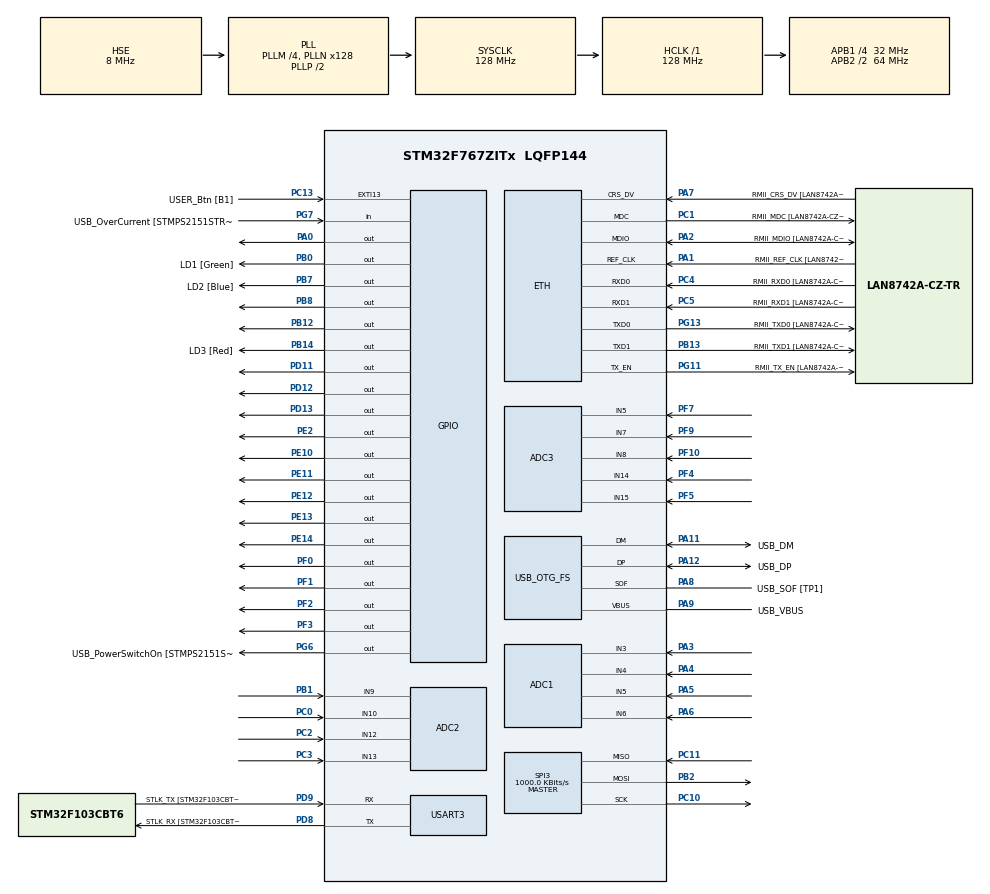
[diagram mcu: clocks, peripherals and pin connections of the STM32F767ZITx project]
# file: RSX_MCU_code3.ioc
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ADC1.Channel-1\#ChannelRegularConversion=ADC_CHANNEL_3
ADC1.Channel-2\#ChannelRegularConversion=ADC_CHANNEL_4
ADC1.Channel-3\#ChannelRegularConversion=ADC_CHANNEL_5
ADC1.Channel-4\#ChannelRegularConversion=ADC_CHANNEL_6
ADC1.ClockPrescaler=ADC_CLOCK_SYNC_PCLK_DIV4
ADC1.ContinuousConvMode=ENABLE
ADC1.DMAContinuousRequests=ENABLE
ADC1.NbrOfConversion=4
ADC1.NbrOfConversionFlag=1
ADC1.Rank-1\#ChannelRegularConversion=1
ADC1.Rank-2\#ChannelRegularConversion=2
ADC1.Rank-3\#ChannelRegularConversion=3
ADC1.Rank-4\#ChannelRegularConversion=4
ADC1.SamplingTime-1\#ChannelRegularConversion=ADC_SAMPLETIME_3CYCLES
ADC1.SamplingTime-2\#ChannelRegularConversion=ADC_SAMPLETIME_3CYCLES
ADC1.SamplingTime-3\#ChannelRegularConversion=ADC_SAMPLETIME_3CYCLES
ADC1.SamplingTime-4\#ChannelRegularConversion=ADC_SAMPLETIME_3CYCLES
ADC1.ScanConvMode=ADC_SCAN_ENABLE
ADC1.master=1
ADC2.Channel-0\#ChannelRegularConversion=ADC_CHANNEL_9
ADC2.Channel-1\#ChannelRegularConversion=ADC_CHANNEL_10
ADC2.Channel-2\#ChannelRegularConversion=ADC_CHANNEL_12
ADC2.Channel-3\#ChannelRegularConversion=ADC_CHANNEL_13
ADC2.ClockPrescaler=ADC_CLOCK_SYNC_PCLK_DIV4
ADC2.ContinuousConvMode=ENABLE
ADC2.DMAContinuousRequests=ENABLE
ADC2.NbrOfConversion=4
ADC2.NbrOfConversionFlag=1
ADC2.Rank-0\#ChannelRegularConversion=1
ADC2.Rank-1\#ChannelRegularConversion=2
ADC2.Rank-2\#ChannelRegularConversion=3
ADC2.Rank-3\#ChannelRegularConversion=4
ADC2.SamplingTime-0\#ChannelRegularConversion=ADC_SAMPLETIME_3CYCLES
ADC2.SamplingTime-1\#ChannelRegularConversion=ADC_SAMPLETIME_3CYCLES
ADC2.SamplingTime-2\#ChannelRegularConversion=ADC_SAMPLETIME_3CYCLES
ADC2.SamplingTime-3\#ChannelRegularConversion=ADC_SAMPLETIME_3CYCLES
ADC2.ScanConvMode=ADC_SCAN_ENABLE
ADC3.Channel-0\#ChannelRegularConversion=ADC_CHANNEL_7
ADC3.Channel-1\#ChannelRegularConversion=ADC_CHANNEL_8
ADC3.ClockPrescaler=ADC_CLOCK_SYNC_PCLK_DIV4
ADC3.ContinuousConvMode=ENABLE
ADC3.DMAContinuousRequests=ENABLE
ADC3.NbrOfConversion=2
ADC3.NbrOfConversionFlag=1
ADC3.Rank-0\#ChannelRegularConversion=1
ADC3.Rank-1\#ChannelRegularConversion=2
ADC3.SamplingTime-0\#ChannelRegularConversion=ADC_SAMPLETIME_3CYCLES
ADC3.SamplingTime-1\#ChannelRegularConversion=ADC_SAMPLETIME_3CYCLES
ADC3.ScanConvMode=ADC_SCAN_ENABLE
Dma.ADC1.2.Direction=DMA_PERIPH_TO_MEMORY
Dma.ADC1.2.FIFOMode=DMA_FIFOMODE_DISABLE
Dma.ADC1.2.Instance=DMA2_Stream4
Dma.ADC1.2.MemDataAlignment=DMA_MDATAALIGN_HALFWORD
Dma.ADC1.2.MemInc=DMA_MINC_ENABLE
Dma.ADC1.2.Mode=DMA_NORMAL
Dma.ADC1.2.PeriphDataAlignment=DMA_PDATAALIGN_HALFWORD
Dma.ADC1.2.PeriphInc=DMA_PINC_DISABLE
Dma.ADC1.2.Priority=DMA_PRIORITY_LOW
Dma.ADC2.1.Direction=DMA_PERIPH_TO_MEMORY
Dma.ADC2.1.FIFOMode=DMA_FIFOMODE_DISABLE
Dma.ADC2.1.Instance=DMA2_Stream2
Dma.ADC2.1.MemDataAlignment=DMA_MDATAALIGN_HALFWORD
Dma.ADC2.1.MemInc=DMA_MINC_ENABLE
Dma.ADC2.1.Mode=DMA_NORMAL
Dma.ADC2.1.PeriphDataAlignment=DMA_PDATAALIGN_HALFWORD
Dma.ADC2.1.PeriphInc=DMA_PINC_DISABLE
Dma.ADC2.1.Priority=DMA_PRIORITY_LOW
Dma.ADC3.0.Direction=DMA_PERIPH_TO_MEMORY
Dma.ADC3.0.FIFOMode=DMA_FIFOMODE_DISABLE
Dma.ADC3.0.Instance=DMA2_Stream0
Dma.ADC3.0.MemDataAlignment=DMA_MDATAALIGN_HALFWORD
Dma.ADC3.0.MemInc=DMA_MINC_ENABLE
Dma.ADC3.0.Mode=DMA_NORMAL
Dma.ADC3.0.PeriphDataAlignment=DMA_PDATAALIGN_HALFWORD
Dma.ADC3.0.PeriphInc=DMA_PINC_DISABLE
Dma.ADC3.0.Priority=DMA_PRIORITY_LOW
Dma.Request0=ADC3
Dma.Request1=ADC2
Dma.Request2=ADC1
Dma.Request3=SPI3_TX
Dma.SPI3_TX.3.Direction=DMA_MEMORY_TO_PERIPH
Dma.SPI3_TX.3.FIFOMode=DMA_FIFOMODE_DISABLE
Dma.SPI3_TX.3.Instance=DMA1_Stream5
Dma.SPI3_TX.3.MemDataAlignment=DMA_MDATAALIGN_BYTE
Dma.SPI3_TX.3.MemInc=DMA_MINC_ENABLE
Dma.SPI3_TX.3.Mode=DMA_NORMAL
Dma.SPI3_TX.3.PeriphDataAlignment=DMA_PDATAALIGN_BYTE
Dma.SPI3_TX.3.PeriphInc=DMA_PINC_DISABLE
Dma.SPI3_TX.3.Priority=DMA_PRIORITY_LOW
ETH.MediaInterface=HAL_ETH_RMII_MODE
ETH.PHY_Name=LAN8742A_PHY_ADDRESS
ETH.PHY_Value=0
ETH.PhyAddress=0
Mcu.Family=STM32F7
Mcu.Name=STM32F767ZITx
Mcu.Package=LQFP144
NVIC.DMA1_Stream5_IRQn=true\:0\:0\:false\:false\:true\:false\:true\:true
NVIC.DMA2_Stream0_IRQn=true\:0\:0\:false\:false\:true\:false\:true\:true
NVIC.DMA2_Stream2_IRQn=true\:0\:0\:false\:false\:true\:false\:true\:true
NVIC.DMA2_Stream4_IRQn=true\:0\:0\:false\:false\:true\:false\:true\:true
NVIC.PriorityGroup=NVIC_PRIORITYGROUP_4
NVIC.SPI3_IRQn=true\:0\:0\:false\:false\:true\:true\:true\:true
PA0/WKUP.Signal=GPIO_Output
PA1.GPIO_Label=RMII_REF_CLK [LAN8742A-CZ-TR_REFCLK0]
PA1.Mode=RMII
PA1.Signal=ETH_REF_CLK
PA10.GPIO_Label=USB_ID
PA10.Signal=USB_OTG_FS_ID
PA11.GPIO_Label=USB_DM
PA11.Mode=Device_Only
PA11.Signal=USB_OTG_FS_DM
PA12.GPIO_Label=USB_DP
PA12.Mode=Device_Only
PA12.Signal=USB_OTG_FS_DP
PA13.GPIO_Label=TMS
PA13.Mode=Serial_Wire
PA13.Signal=SYS_JTMS-SWDIO
PA14.GPIO_Label=TCK
PA14.Mode=Serial_Wire
PA14.Signal=SYS_JTCK-SWCLK
PA2.GPIO_Label=RMII_MDIO [LAN8742A-CZ-TR_MDIO]
PA2.Mode=RMII
PA2.Signal=ETH_MDIO
PA3.Signal=ADCx_IN3
PA4.Signal=ADCx_IN4
PA5.Signal=ADCx_IN5
PA6.Signal=ADCx_IN6
PA7.GPIO_Label=RMII_CRS_DV [LAN8742A-CZ-TR_CRS_DV]
PA7.Mode=RMII
PA7.Signal=ETH_CRS_DV
PA8.GPIO_Label=USB_SOF [TP1]
PA8.Mode=Activate_SOF_FS
PA8.Signal=USB_OTG_FS_SOF
PA9.GPIO_Label=USB_VBUS
PA9.Mode=Activate_VBUS
PA9.Signal=USB_OTG_FS_VBUS
PB0.GPIO_Label=LD1 [Green]
PB0.Signal=GPIO_Output
PB1.Signal=ADCx_IN9
PB12.Signal=GPIO_Output
PB13.GPIO_Label=RMII_TXD1 [LAN8742A-CZ-TR_TXD1]
PB13.Mode=RMII
PB13.Signal=ETH_TXD1
PB14.GPIO_Label=LD3 [Red]
PB14.Signal=GPIO_Output
PB2.Mode=Full_Duplex_Master
PB2.Signal=SPI3_MOSI
PB3.GPIO_Label=SWO
PB3.Signal=SYS_JTDO-SWO
PB7.GPIO_Label=LD2 [Blue]
PB7.Signal=GPIO_Output
PB8.Signal=GPIO_Output
PC0.Signal=ADCx_IN10
PC1.GPIO_Label=RMII_MDC [LAN8742A-CZ-TR_MDC]
PC1.Mode=RMII
PC1.Signal=ETH_MDC
PC10.Mode=Full_Duplex_Master
PC10.Signal=SPI3_SCK
PC11.Mode=Full_Duplex_Master
PC11.Signal=SPI3_MISO
PC13.GPIO_Label=USER_Btn [B1]
PC13.Signal=GPXTI13
PC14/OSC32_IN.Mode=LSE-External-Oscillator
PC14/OSC32_IN.Signal=RCC_OSC32_IN
PC15/OSC32_OUT.Mode=LSE-External-Oscillator
PC15/OSC32_OUT.Signal=RCC_OSC32_OUT
PC2.Signal=ADCx_IN12
PC3.Signal=ADCx_IN13
PC4.GPIO_Label=RMII_RXD0 [LAN8742A-CZ-TR_RXD0]
PC4.Mode=RMII
PC4.Signal=ETH_RXD0
PC5.GPIO_Label=RMII_RXD1 [LAN8742A-CZ-TR_RXD1]
PC5.Mode=RMII
PC5.Signal=ETH_RXD1
PD11.Signal=GPIO_Output
PD12.Signal=GPIO_Output
PD13.Signal=GPIO_Output
PD8.GPIO_Label=STLK_RX [STM32F103CBT6_PA3]
PD8.Mode=Asynchronous
PD8.Signal=USART3_TX
PD9.GPIO_Label=STLK_TX [STM32F103CBT6_PA2]
PD9.Mode=Asynchronous
PD9.Signal=USART3_RX
PE10.Signal=GPIO_Output
PE11.Signal=GPIO_Output
PE12.Signal=GPIO_Output
PE13.Signal=GPIO_Output
PE14.Signal=GPIO_Output
PE2.Signal=GPIO_Output
PF0.Signal=GPIO_Output
PF1.Signal=GPIO_Output
PF10.Mode=IN8
PF10.Signal=ADC3_IN8
PF2.Signal=GPIO_Output
PF3.Signal=GPIO_Output
PF4.Mode=IN14
PF4.Signal=ADC3_IN14
PF5.Mode=IN15
PF5.Signal=ADC3_IN15
PF7.Mode=IN5
PF7.Signal=ADC3_IN5
PF9.Mode=IN7
PF9.Signal=ADC3_IN7
PG11.GPIO_Label=RMII_TX_EN [LAN8742A-CZ-TR_TXEN]
PG11.Mode=RMII
PG11.Signal=ETH_TX_EN
PG13.GPIO_Label=RMII_TXD0 [LAN8742A-CZ-TR_TXD0]
PG13.Mode=RMII
PG13.Signal=ETH_TXD0
PG6.GPIO_Label=USB_PowerSwitchOn [STMPS2151STR_EN]
PG6.Signal=GPIO_Output
PG7.GPIO_Label=USB_OverCurrent [STMPS2151STR_FAULT]
PG7.Signal=GPIO_Input
PH0/OSC_IN.GPIO_Label=MCO [STM32F103CBT6_PA8]
PH0/OSC_IN.Mode=HSE-External-Clock-Source
PH0/OSC_IN.Signal=RCC_OSC_IN
PH1/OSC_OUT.Mode=HSE-External-Clock-Source
PH1/OSC_OUT.Signal=RCC_OSC_OUT
ProjectManager.HeapSize=0x200
ProjectManager.StackSize=0x400
ProjectManager.TargetToolchain=STM32CubeIDE
RCC.48MHZClocksFreq_Value=24000000
RCC.AHBFreq_Value=128000000
RCC.APB1CLKDivider=RCC_HCLK_DIV4
RCC.APB1Freq_Value=32000000
RCC.APB1TimFreq_Value=64000000
RCC.APB2CLKDivider=RCC_HCLK_DIV2
RCC.APB2Freq_Value=64000000
RCC.APB2TimFreq_Value=128000000
RCC.CortexFreq_Value=128000000
RCC.HCLKFreq_Value=128000000
RCC.HSE_VALUE=8000000
RCC.HSI_VALUE=16000000
RCC.PLL48CLockSelection=RCC_CLK48SOURCE_PLLSAIP
RCC.PLLM=4
RCC.PLLMUL=RCC_PLL_MUL9
RCC.PLLN=128
RCC.PLLQ=4
RCC.PLLSAIP=RCC_PLLSAIP_DIV8
RCC.PRESCALERUSB=RCC_USBCLKSOURCE_PLL_DIV1_5
RCC.SYSCLKFreq_VALUE=128000000
RCC.SYSCLKSource=RCC_SYSCLKSOURCE_PLLCLK
RCC.SYSCLKSourceVirtual=RCC_SYSCLKSOURCE_PLLCLK
RCC.USBFreq_Value=48000000
RCC.VCOOutputFreq_Value=256000000
SH.ADCx_IN10.0=ADC2_IN10,IN10
SH.ADCx_IN12.0=ADC2_IN12,IN12
SH.ADCx_IN13.0=ADC2_IN13,IN13
SH.ADCx_IN3.0=ADC1_IN3,IN3
SH.ADCx_IN4.0=ADC1_IN4,IN4
SH.ADCx_IN5.0=ADC1_IN5,IN5
SH.ADCx_IN6.0=ADC1_IN6,IN6
SH.ADCx_IN9.0=ADC2_IN9,IN9
SPI3.BaudRatePrescaler=SPI_BAUDRATEPRESCALER_32
SPI3.CalculateBaudRate=1000.0 KBits/s
SPI3.Direction=SPI_DIRECTION_2LINES
SPI3.Mode=SPI_MODE_MASTER
SPI3.VirtualType=VM_MASTER
USART3.VirtualMode-Asynchronous=VM_ASYNC
USB_OTG_FS.VirtualMode=Device_Only
VP_TIM1_VS_ClockSourceINT.Mode=Internal
board=NUCLEO-F767ZI

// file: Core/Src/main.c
/* USER CODE BEGIN Header */
/**
  ******************************************************************************
  * @file           : main.c
  * @brief          : Main program body
  ******************************************************************************
  * @attention
  *
  * Copyright (c) 2025 STMicroelectronics.
  * All rights reserved.
  *
  * This software is licensed under terms that can be found in the LICENSE file
  * in the root directory of this software component.
  * If no LICENSE file comes with this software, it is provided AS-IS.
  *
  ******************************************************************************
  */
/* USER CODE END Header */
#include "main.h"
#include "string.h"

/* USER CODE BEGIN Includes */
#include <stdio.h>
/* USER CODE END Includes */

#if defined ( __ICCARM__ ) /*!< IAR Compiler */
#pragma location=0x2007c000
ETH_DMADescTypeDef  DMARxDscrTab[ETH_RX_DESC_CNT]; /* Ethernet Rx DMA Descriptors */
#pragma location=0x2007c0a0
ETH_DMADescTypeDef  DMATxDscrTab[ETH_TX_DESC_CNT]; /* Ethernet Tx DMA Descriptors */

#elif defined ( __CC_ARM )  /* MDK ARM Compiler */

__attribute__((at(0x2007c000))) ETH_DMADescTypeDef  DMARxDscrTab[ETH_RX_DESC_CNT]; /* Ethernet Rx DMA Descriptors */
__attribute__((at(0x2007c0a0))) ETH_DMADescTypeDef  DMATxDscrTab[ETH_TX_DESC_CNT]; /* Ethernet Tx DMA Descriptors */

#elif defined ( __GNUC__ ) /* GNU Compiler */

ETH_DMADescTypeDef DMARxDscrTab[ETH_RX_DESC_CNT] __attribute__((section(".RxDecripSection"))); /* Ethernet Rx DMA Descriptors */
ETH_DMADescTypeDef DMATxDscrTab[ETH_TX_DESC_CNT] __attribute__((section(".TxDecripSection")));   /* Ethernet Tx DMA Descriptors */
#endif

ETH_TxPacketConfig TxConfig;

ADC_HandleTypeDef hadc1;
ADC_HandleTypeDef hadc2;
ADC_HandleTypeDef hadc3;
DMA_HandleTypeDef hdma_adc1;
DMA_HandleTypeDef hdma_adc2;
DMA_HandleTypeDef hdma_adc3;

ETH_HandleTypeDef heth;

SPI_HandleTypeDef hspi3;
DMA_HandleTypeDef hdma_spi3_tx;

TIM_HandleTypeDef htim1;

UART_HandleTypeDef huart3;

PCD_HandleTypeDef hpcd_USB_OTG_FS;

/* USER CODE BEGIN PV */
uint16_t adc1_values[4] = {0};
uint16_t adc2_values[4] = {0};
uint16_t adc3_values[5] = {0};
/* USER CODE END PV */

void SystemClock_Config(void);
static void MX_GPIO_Init(void);
static void MX_DMA_Init(void);
static void MX_ETH_Init(void);
static void MX_USART3_UART_Init(void);
static void MX_USB_OTG_FS_PCD_Init(void);
static void MX_ADC1_Init(void);
static void MX_ADC2_Init(void);
static void MX_ADC3_Init(void);
static void MX_SPI3_Init(void);
static void MX_TIM1_Init(void);

/* USER CODE BEGIN 0 */
float Get_Voltage(VoltageSelection v_sel) {
	float adc_value;
	switch (v_sel) {
	case PA3:
		adc_value = adc1_values[0];
		break;
	case PA4:
		adc_value = adc1_values[1];
		break;
	case PA5:
		adc_value = adc1_values[2];
		break;
	case PA6:
		adc_value = adc1_values[3];
		break;
	case PF4:
		adc_value = adc3_values[0];
		break;
	case PF5:
		adc_value = adc3_values[1];
		break;
	case PF7:
		adc_value = adc3_values[2];
		break;
	default:
		return 1.0 / 0;
		break;
	}
	float vref = 3.3f;
	float voltage = (adc_value / 4095.0f) * vref;
	// do some conversion
	return voltage;
}

float Get_Current(CurrentSelection I_sel) {
	float adc_value;
	switch (I_sel) {
	case PF9:
		adc_value = adc3_values[3];
		break;
	case PF10:
		adc_value = adc3_values[4];
		break;
	default:
		return 1.0 / 0;
		break;
	}
	float vref = 3.3f;
	float current = (adc_value / 4095.0f) * vref;
	// do some conversion
	return current;
}

float Get_Temperature(TemperatureSelection T_sel) {
	float adc_value;
	switch (T_sel) {
	case PA3:
		adc_value = adc2_values[0];
		break;
	case PA4:
		adc_value = adc2_values[1];
		break;
	case PA5:
		adc_value = adc2_values[2];
		break;
	case PA6:
		adc_value = adc2_values[3];
		break;
	default:
		return 1.0 / 0;
		break;
	}
	float vref = 3.3f;
	float temperature = (adc_value / 4095.0f) * vref;
	return temperature;
}
bool Enable(DCtoDCSelection DC_sel) {
	return true;
}
/* USER CODE END 0 */

int main(void)
{

  /* MCU Configuration--------------------------------------------------------*/

  /* Reset of all peripherals, Initializes the Flash interface and the Systick. */
  HAL_Init();

  /* Configure the system clock */
  SystemClock_Config();

  /* Initialize all configured peripherals */
  MX_GPIO_Init();
  MX_DMA_Init();
  MX_ETH_Init();
  MX_USART3_UART_Init();
  MX_USB_OTG_FS_PCD_Init();
  MX_ADC1_Init();
  MX_ADC2_Init();
  MX_ADC3_Init();
  MX_SPI3_Init();
  MX_TIM1_Init();

  /* Infinite loop */
  /* USER CODE BEGIN WHILE */

  HAL_ADC_Start_DMA(&hadc1, (uint32_t*)adc1_values, 4);
  HAL_ADC_Start_DMA(&hadc2, (uint32_t*)adc2_values, 4);
  HAL_ADC_Start_DMA(&hadc3, (uint32_t*)adc3_values, 5);

  while (1)
  {
    /* USER CODE END WHILE */

    /* USER CODE BEGIN 3 */
	  float voltage = Get_Voltage(PA3);
	  char msg[100];
	  snprintf(msg, 100, "voltage %.6f\r\n", voltage);
	  HAL_UART_Transmit(&huart3, (uint8_t*)msg, strlen(msg), HAL_MAX_DELAY);

	  voltage = Get_Voltage(PA4);
	  snprintf(msg, 100, "voltage %.6f\r\n", voltage);
	  HAL_UART_Transmit(&huart3, (uint8_t*)msg, strlen(msg), HAL_MAX_DELAY);

	  HAL_Delay(1000);

  }
  /* USER CODE END 3 */
}

void SystemClock_Config(void)
{
  RCC_OscInitTypeDef RCC_OscInitStruct = {0};
  RCC_ClkInitTypeDef RCC_ClkInitStruct = {0};

  /** Configure LSE Drive Capability
  */
  HAL_PWR_EnableBkUpAccess();

  /** Configure the main internal regulator output voltage
  */
  __HAL_RCC_PWR_CLK_ENABLE();
  __HAL_PWR_VOLTAGESCALING_CONFIG(PWR_REGULATOR_VOLTAGE_SCALE3);

  /** Initializes the RCC Oscillators according to the specified parameters
  * in the RCC_OscInitTypeDef structure.
  */
  RCC_OscInitStruct.OscillatorType = RCC_OSCILLATORTYPE_HSE;
  RCC_OscInitStruct.HSEState = RCC_HSE_BYPASS;
  RCC_OscInitStruct.PLL.PLLState = RCC_PLL_ON;
  RCC_OscInitStruct.PLL.PLLSource = RCC_PLLSOURCE_HSE;
  RCC_OscInitStruct.PLL.PLLM = 4;
  RCC_OscInitStruct.PLL.PLLN = 128;
  RCC_OscInitStruct.PLL.PLLP = RCC_PLLP_DIV2;
  RCC_OscInitStruct.PLL.PLLQ = 4;
  RCC_OscInitStruct.PLL.PLLR = 2;
  if (HAL_RCC_OscConfig(&RCC_OscInitStruct) != HAL_OK)
  {
    Error_Handler();
  }

  /** Initializes the CPU, AHB and APB buses clocks
  */
  RCC_ClkInitStruct.ClockType = RCC_CLOCKTYPE_HCLK|RCC_CLOCKTYPE_SYSCLK
                              |RCC_CLOCKTYPE_PCLK1|RCC_CLOCKTYPE_PCLK2;
  RCC_ClkInitStruct.SYSCLKSource = RCC_SYSCLKSOURCE_PLLCLK;
  RCC_ClkInitStruct.AHBCLKDivider = RCC_SYSCLK_DIV1;
  RCC_ClkInitStruct.APB1CLKDivider = RCC_HCLK_DIV4;
  RCC_ClkInitStruct.APB2CLKDivider = RCC_HCLK_DIV2;

  if (HAL_RCC_ClockConfig(&RCC_ClkInitStruct, FLASH_LATENCY_4) != HAL_OK)
  {
    Error_Handler();
  }
}

static void MX_ADC1_Init(void)
{

  ADC_ChannelConfTypeDef sConfig = {0};

  /** Configure the global features of the ADC (Clock, Resolution, Data Alignment and number of conversion)
  */
  hadc1.Instance = ADC1;
  hadc1.Init.ClockPrescaler = ADC_CLOCK_SYNC_PCLK_DIV4;
  hadc1.Init.Resolution = ADC_RESOLUTION_12B;
  hadc1.Init.ScanConvMode = ADC_SCAN_ENABLE;
  hadc1.Init.ContinuousConvMode = ENABLE;
  hadc1.Init.DiscontinuousConvMode = DISABLE;
  hadc1.Init.ExternalTrigConvEdge = ADC_EXTERNALTRIGCONVEDGE_NONE;
  hadc1.Init.ExternalTrigConv = ADC_SOFTWARE_START;
  hadc1.Init.DataAlign = ADC_DATAALIGN_RIGHT;
  hadc1.Init.NbrOfConversion = 4;
  hadc1.Init.DMAContinuousRequests = ENABLE;
  hadc1.Init.EOCSelection = ADC_EOC_SINGLE_CONV;
  if (HAL_ADC_Init(&hadc1) != HAL_OK)
  {
    Error_Handler();
  }

  /** Configure for the selected ADC regular channel its corresponding rank in the sequencer and its sample time.
  */
  sConfig.Channel = ADC_CHANNEL_3;
  sConfig.Rank = ADC_REGULAR_RANK_1;
  sConfig.SamplingTime = ADC_SAMPLETIME_3CYCLES;
  if (HAL_ADC_ConfigChannel(&hadc1, &sConfig) != HAL_OK)
  {
    Error_Handler();
  }

  /** Configure for the selected ADC regular channel its corresponding rank in the sequencer and its sample time.
  */
  sConfig.Channel = ADC_CHANNEL_4;
  sConfig.Rank = ADC_REGULAR_RANK_2;
  if (HAL_ADC_ConfigChannel(&hadc1, &sConfig) != HAL_OK)
  {
    Error_Handler();
  }

  /** Configure for the selected ADC regular channel its corresponding rank in the sequencer and its sample time.
  */
  sConfig.Channel = ADC_CHANNEL_5;
  sConfig.Rank = ADC_REGULAR_RANK_3;
  if (HAL_ADC_ConfigChannel(&hadc1, &sConfig) != HAL_OK)
  {
    Error_Handler();
  }

  /** Configure for the selected ADC regular channel its corresponding rank in the sequencer and its sample time.
  */
  sConfig.Channel = ADC_CHANNEL_6;
  sConfig.Rank = ADC_REGULAR_RANK_4;
  if (HAL_ADC_ConfigChannel(&hadc1, &sConfig) != HAL_OK)
  {
    Error_Handler();
  }

}

static void MX_ADC2_Init(void)
{

  ADC_ChannelConfTypeDef sConfig = {0};

  /** Configure the global features of the ADC (Clock, Resolution, Data Alignment and number of conversion)
  */
  hadc2.Instance = ADC2;
  hadc2.Init.ClockPrescaler = ADC_CLOCK_SYNC_PCLK_DIV4;
  hadc2.Init.Resolution = ADC_RESOLUTION_12B;
  hadc2.Init.ScanConvMode = ADC_SCAN_ENABLE;
  hadc2.Init.ContinuousConvMode = ENABLE;
  hadc2.Init.DiscontinuousConvMode = DISABLE;
  hadc2.Init.ExternalTrigConvEdge = ADC_EXTERNALTRIGCONVEDGE_NONE;
  hadc2.Init.ExternalTrigConv = ADC_SOFTWARE_START;
  hadc2.Init.DataAlign = ADC_DATAALIGN_RIGHT;
  hadc2.Init.NbrOfConversion = 4;
  hadc2.Init.DMAContinuousRequests = ENABLE;
  hadc2.Init.EOCSelection = ADC_EOC_SINGLE_CONV;
  if (HAL_ADC_Init(&hadc2) != HAL_OK)
  {
    Error_Handler();
  }

  /** Configure for the selected ADC regular channel its corresponding rank in the sequencer and its sample time.
  */
  sConfig.Channel = ADC_CHANNEL_9;
  sConfig.Rank = ADC_REGULAR_RANK_1;
  sConfig.SamplingTime = ADC_SAMPLETIME_3CYCLES;
  if (HAL_ADC_ConfigChannel(&hadc2, &sConfig) != HAL_OK)
  {
    Error_Handler();
  }

  /** Configure for the selected ADC regular channel its corresponding rank in the sequencer and its sample time.
  */
  sConfig.Channel = ADC_CHANNEL_10;
  sConfig.Rank = ADC_REGULAR_RANK_2;
  if (HAL_ADC_ConfigChannel(&hadc2, &sConfig) != HAL_OK)
  {
    Error_Handler();
  }

  /** Configure for the selected ADC regular channel its corresponding rank in the sequencer and its sample time.
  */
  sConfig.Channel = ADC_CHANNEL_12;
  sConfig.Rank = ADC_REGULAR_RANK_3;
  if (HAL_ADC_ConfigChannel(&hadc2, &sConfig) != HAL_OK)
  {
    Error_Handler();
  }

  /** Configure for the selected ADC regular channel its corresponding rank in the sequencer and its sample time.
  */
  sConfig.Channel = ADC_CHANNEL_13;
  sConfig.Rank = ADC_REGULAR_RANK_4;
  if (HAL_ADC_ConfigChannel(&hadc2, &sConfig) != HAL_OK)
  {
    Error_Handler();
  }

}

static void MX_ADC3_Init(void)
{

  ADC_ChannelConfTypeDef sConfig = {0};

  /** Configure the global features of the ADC (Clock, Resolution, Data Alignment and number of conversion)
  */
  hadc3.Instance = ADC3;
  hadc3.Init.ClockPrescaler = ADC_CLOCK_SYNC_PCLK_DIV4;
  hadc3.Init.Resolution = ADC_RESOLUTION_12B;
  hadc3.Init.ScanConvMode = ADC_SCAN_ENABLE;
  hadc3.Init.ContinuousConvMode = ENABLE;
  hadc3.Init.DiscontinuousConvMode = DISABLE;
  hadc3.Init.ExternalTrigConvEdge = ADC_EXTERNALTRIGCONVEDGE_NONE;
  hadc3.Init.ExternalTrigConv = ADC_SOFTWARE_START;
  hadc3.Init.DataAlign = ADC_DATAALIGN_RIGHT;
  hadc3.Init.NbrOfConversion = 2;
  hadc3.Init.DMAContinuousRequests = ENABLE;
  hadc3.Init.EOCSelection = ADC_EOC_SINGLE_CONV;
  if (HAL_ADC_Init(&hadc3) != HAL_OK)
  {
    Error_Handler();
  }

  /** Configure for the selected ADC regular channel its corresponding rank in the sequencer and its sample time.
  */
  sConfig.Channel = ADC_CHANNEL_7;
  sConfig.Rank = ADC_REGULAR_RANK_1;
  sConfig.SamplingTime = ADC_SAMPLETIME_3CYCLES;
  if (HAL_ADC_ConfigChannel(&hadc3, &sConfig) != HAL_OK)
  {
    Error_Handler();
  }

  /** Configure for the selected ADC regular channel its corresponding rank in the sequencer and its sample time.
  */
  sConfig.Channel = ADC_CHANNEL_8;
  sConfig.Rank = ADC_REGULAR_RANK_2;
  if (HAL_ADC_ConfigChannel(&hadc3, &sConfig) != HAL_OK)
  {
    Error_Handler();
  }

}

static void MX_ETH_Init(void)
{

   static uint8_t MACAddr[6];

  heth.Instance = ETH;
  MACAddr[0] = 0x00;
  MACAddr[1] = 0x80;
  MACAddr[2] = 0xE1;
  MACAddr[3] = 0x00;
  MACAddr[4] = 0x00;
  MACAddr[5] = 0x00;
  heth.Init.MACAddr = &MACAddr[0];
  heth.Init.MediaInterface = HAL_ETH_RMII_MODE;
  heth.Init.TxDesc = DMATxDscrTab;
  heth.Init.RxDesc = DMARxDscrTab;
  heth.Init.RxBuffLen = 1524;

  if (HAL_ETH_Init(&heth) != HAL_OK)
  {
    Error_Handler();
  }

  memset(&TxConfig, 0 , sizeof(ETH_TxPacketConfig));
  TxConfig.Attributes = ETH_TX_PACKETS_FEATURES_CSUM | ETH_TX_PACKETS_FEATURES_CRCPAD;
  TxConfig.ChecksumCtrl = ETH_CHECKSUM_IPHDR_PAYLOAD_INSERT_PHDR_CALC;
  TxConfig.CRCPadCtrl = ETH_CRC_PAD_INSERT;

}

static void MX_SPI3_Init(void)
{

  /* SPI3 parameter configuration*/
  hspi3.Instance = SPI3;
  hspi3.Init.Mode = SPI_MODE_MASTER;
  hspi3.Init.Direction = SPI_DIRECTION_2LINES;
  hspi3.Init.DataSize = SPI_DATASIZE_4BIT;
  hspi3.Init.CLKPolarity = SPI_POLARITY_LOW;
  hspi3.Init.CLKPhase = SPI_PHASE_1EDGE;
  hspi3.Init.NSS = SPI_NSS_SOFT;
  hspi3.Init.BaudRatePrescaler = SPI_BAUDRATEPRESCALER_32;
  hspi3.Init.FirstBit = SPI_FIRSTBIT_MSB;
  hspi3.Init.TIMode = SPI_TIMODE_DISABLE;
  hspi3.Init.CRCCalculation = SPI_CRCCALCULATION_DISABLE;
  hspi3.Init.CRCPolynomial = 7;
  hspi3.Init.CRCLength = SPI_CRC_LENGTH_DATASIZE;
  hspi3.Init.NSSPMode = SPI_NSS_PULSE_ENABLE;
  if (HAL_SPI_Init(&hspi3) != HAL_OK)
  {
    Error_Handler();
  }

}

static void MX_TIM1_Init(void)
{

  TIM_ClockConfigTypeDef sClockSourceConfig = {0};
  TIM_MasterConfigTypeDef sMasterConfig = {0};

  htim1.Instance = TIM1;
  htim1.Init.Prescaler = 0;
  htim1.Init.CounterMode = TIM_COUNTERMODE_UP;
  htim1.Init.Period = 65535;
  htim1.Init.ClockDivision = TIM_CLOCKDIVISION_DIV1;
  htim1.Init.RepetitionCounter = 0;
  htim1.Init.AutoReloadPreload = TIM_AUTORELOAD_PRELOAD_DISABLE;
  if (HAL_TIM_Base_Init(&htim1) != HAL_OK)
  {
    Error_Handler();
  }
  sClockSourceConfig.ClockSource = TIM_CLOCKSOURCE_INTERNAL;
  if (HAL_TIM_ConfigClockSource(&htim1, &sClockSourceConfig) != HAL_OK)
  {
    Error_Handler();
  }
  sMasterConfig.MasterOutputTrigger = TIM_TRGO_RESET;
  sMasterConfig.MasterOutputTrigger2 = TIM_TRGO2_RESET;
  sMasterConfig.MasterSlaveMode = TIM_MASTERSLAVEMODE_DISABLE;
  if (HAL_TIMEx_MasterConfigSynchronization(&htim1, &sMasterConfig) != HAL_OK)
  {
    Error_Handler();
  }

}

static void MX_USART3_UART_Init(void)
{

  huart3.Instance = USART3;
  huart3.Init.BaudRate = 115200;
  huart3.Init.WordLength = UART_WORDLENGTH_8B;
  huart3.Init.StopBits = UART_STOPBITS_1;
  huart3.Init.Parity = UART_PARITY_NONE;
  huart3.Init.Mode = UART_MODE_TX_RX;
  huart3.Init.HwFlowCtl = UART_HWCONTROL_NONE;
  huart3.Init.OverSampling = UART_OVERSAMPLING_16;
  huart3.Init.OneBitSampling = UART_ONE_BIT_SAMPLE_DISABLE;
  huart3.AdvancedInit.AdvFeatureInit = UART_ADVFEATURE_NO_INIT;
  if (HAL_UART_Init(&huart3) != HAL_OK)
  {
    Error_Handler();
  }

}

static void MX_USB_OTG_FS_PCD_Init(void)
{

  hpcd_USB_OTG_FS.Instance = USB_OTG_FS;
  hpcd_USB_OTG_FS.Init.dev_endpoints = 6;
  hpcd_USB_OTG_FS.Init.speed = PCD_SPEED_FULL;
  hpcd_USB_OTG_FS.Init.dma_enable = DISABLE;
  hpcd_USB_OTG_FS.Init.phy_itface = PCD_PHY_EMBEDDED;
  hpcd_USB_OTG_FS.Init.Sof_enable = ENABLE;
  hpcd_USB_OTG_FS.Init.low_power_enable = DISABLE;
  hpcd_USB_OTG_FS.Init.lpm_enable = DISABLE;
  hpcd_USB_OTG_FS.Init.vbus_sensing_enable = ENABLE;
  hpcd_USB_OTG_FS.Init.use_dedicated_ep1 = DISABLE;
  if (HAL_PCD_Init(&hpcd_USB_OTG_FS) != HAL_OK)
  {
    Error_Handler();
  }

}

static void MX_DMA_Init(void)
{

  /* DMA controller clock enable */
  __HAL_RCC_DMA2_CLK_ENABLE();
  __HAL_RCC_DMA1_CLK_ENABLE();

  /* DMA interrupt init */
  /* DMA1_Stream5_IRQn interrupt configuration */
  HAL_NVIC_SetPriority(DMA1_Stream5_IRQn, 0, 0);
  HAL_NVIC_EnableIRQ(DMA1_Stream5_IRQn);
  /* DMA2_Stream0_IRQn interrupt configuration */
  HAL_NVIC_SetPriority(DMA2_Stream0_IRQn, 0, 0);
  HAL_NVIC_EnableIRQ(DMA2_Stream0_IRQn);
  /* DMA2_Stream2_IRQn interrupt configuration */
  HAL_NVIC_SetPriority(DMA2_Stream2_IRQn, 0, 0);
  HAL_NVIC_EnableIRQ(DMA2_Stream2_IRQn);
  /* DMA2_Stream4_IRQn interrupt configuration */
  HAL_NVIC_SetPriority(DMA2_Stream4_IRQn, 0, 0);
  HAL_NVIC_EnableIRQ(DMA2_Stream4_IRQn);

}

static void MX_GPIO_Init(void)
{
  GPIO_InitTypeDef GPIO_InitStruct = {0};

  /* GPIO Ports Clock Enable */
  __HAL_RCC_GPIOE_CLK_ENABLE();
  __HAL_RCC_GPIOC_CLK_ENABLE();
  __HAL_RCC_GPIOF_CLK_ENABLE();
  __HAL_RCC_GPIOH_CLK_ENABLE();
  __HAL_RCC_GPIOA_CLK_ENABLE();
  __HAL_RCC_GPIOB_CLK_ENABLE();
  __HAL_RCC_GPIOD_CLK_ENABLE();
  __HAL_RCC_GPIOG_CLK_ENABLE();

  /*Configure GPIO pin Output Level */
  HAL_GPIO_WritePin(GPIOE, GPIO_PIN_2|GPIO_PIN_10|GPIO_PIN_11|GPIO_PIN_12
                          |GPIO_PIN_13|GPIO_PIN_14, GPIO_PIN_RESET);

  /*Configure GPIO pin Output Level */
  HAL_GPIO_WritePin(GPIOF, GPIO_PIN_0|GPIO_PIN_1|GPIO_PIN_2|GPIO_PIN_3, GPIO_PIN_RESET);

  /*Configure GPIO pin Output Level */
  HAL_GPIO_WritePin(GPIOA, GPIO_PIN_0, GPIO_PIN_RESET);

  /*Configure GPIO pin Output Level */
  HAL_GPIO_WritePin(GPIOB, LD1_Pin|GPIO_PIN_12|LD3_Pin|LD2_Pin
                          |GPIO_PIN_8, GPIO_PIN_RESET);

  /*Configure GPIO pin Output Level */
  HAL_GPIO_WritePin(GPIOD, GPIO_PIN_11|GPIO_PIN_12|GPIO_PIN_13, GPIO_PIN_RESET);

  /*Configure GPIO pin Output Level */
  HAL_GPIO_WritePin(USB_PowerSwitchOn_GPIO_Port, USB_PowerSwitchOn_Pin, GPIO_PIN_RESET);

  /*Configure GPIO pins : PE2 PE10 PE11 PE12
                           PE13 PE14 */
  GPIO_InitStruct.Pin = GPIO_PIN_2|GPIO_PIN_10|GPIO_PIN_11|GPIO_PIN_12
                          |GPIO_PIN_13|GPIO_PIN_14;
  GPIO_InitStruct.Mode = GPIO_MODE_OUTPUT_PP;
  GPIO_InitStruct.Pull = GPIO_NOPULL;
  GPIO_InitStruct.Speed = GPIO_SPEED_FREQ_LOW;
  HAL_GPIO_Init(GPIOE, &GPIO_InitStruct);

  /*Configure GPIO pin : USER_Btn_Pin */
  GPIO_InitStruct.Pin = USER_Btn_Pin;
  GPIO_InitStruct.Mode = GPIO_MODE_IT_RISING;
  GPIO_InitStruct.Pull = GPIO_NOPULL;
  HAL_GPIO_Init(USER_Btn_GPIO_Port, &GPIO_InitStruct);

  /*Configure GPIO pins : PF0 PF1 PF2 PF3 */
  GPIO_InitStruct.Pin = GPIO_PIN_0|GPIO_PIN_1|GPIO_PIN_2|GPIO_PIN_3;
  GPIO_InitStruct.Mode = GPIO_MODE_OUTPUT_PP;
  GPIO_InitStruct.Pull = GPIO_NOPULL;
  GPIO_InitStruct.Speed = GPIO_SPEED_FREQ_LOW;
  HAL_GPIO_Init(GPIOF, &GPIO_InitStruct);

  /*Configure GPIO pin : PA0 */
  GPIO_InitStruct.Pin = GPIO_PIN_0;
  GPIO_InitStruct.Mode = GPIO_MODE_OUTPUT_PP;
  GPIO_InitStruct.Pull = GPIO_NOPULL;
  GPIO_InitStruct.Speed = GPIO_SPEED_FREQ_LOW;
  HAL_GPIO_Init(GPIOA, &GPIO_InitStruct);

  /*Configure GPIO pins : LD1_Pin PB12 LD3_Pin LD2_Pin
                           PB8 */
  GPIO_InitStruct.Pin = LD1_Pin|GPIO_PIN_12|LD3_Pin|LD2_Pin
                          |GPIO_PIN_8;
  GPIO_InitStruct.Mode = GPIO_MODE_OUTPUT_PP;
  GPIO_InitStruct.Pull = GPIO_NOPULL;
  GPIO_InitStruct.Speed = GPIO_SPEED_FREQ_LOW;
  HAL_GPIO_Init(GPIOB, &GPIO_InitStruct);

  /*Configure GPIO pins : PD11 PD12 PD13 */
  GPIO_InitStruct.Pin = GPIO_PIN_11|GPIO_PIN_12|GPIO_PIN_13;
  GPIO_InitStruct.Mode = GPIO_MODE_OUTPUT_PP;
  GPIO_InitStruct.Pull = GPIO_NOPULL;
  GPIO_InitStruct.Speed = GPIO_SPEED_FREQ_LOW;
  HAL_GPIO_Init(GPIOD, &GPIO_InitStruct);

  /*Configure GPIO pin : USB_PowerSwitchOn_Pin */
  GPIO_InitStruct.Pin = USB_PowerSwitchOn_Pin;
  GPIO_InitStruct.Mode = GPIO_MODE_OUTPUT_PP;
  GPIO_InitStruct.Pull = GPIO_NOPULL;
  GPIO_InitStruct.Speed = GPIO_SPEED_FREQ_LOW;
  HAL_GPIO_Init(USB_PowerSwitchOn_GPIO_Port, &GPIO_InitStruct);

  /*Configure GPIO pin : USB_OverCurrent_Pin */
  GPIO_InitStruct.Pin = USB_OverCurrent_Pin;
  GPIO_InitStruct.Mode = GPIO_MODE_INPUT;
  GPIO_InitStruct.Pull = GPIO_NOPULL;
  HAL_GPIO_Init(USB_OverCurrent_GPIO_Port, &GPIO_InitStruct);

}

void Error_Handler(void)
{
  __disable_irq();
  while (1)
  {
  }
}
